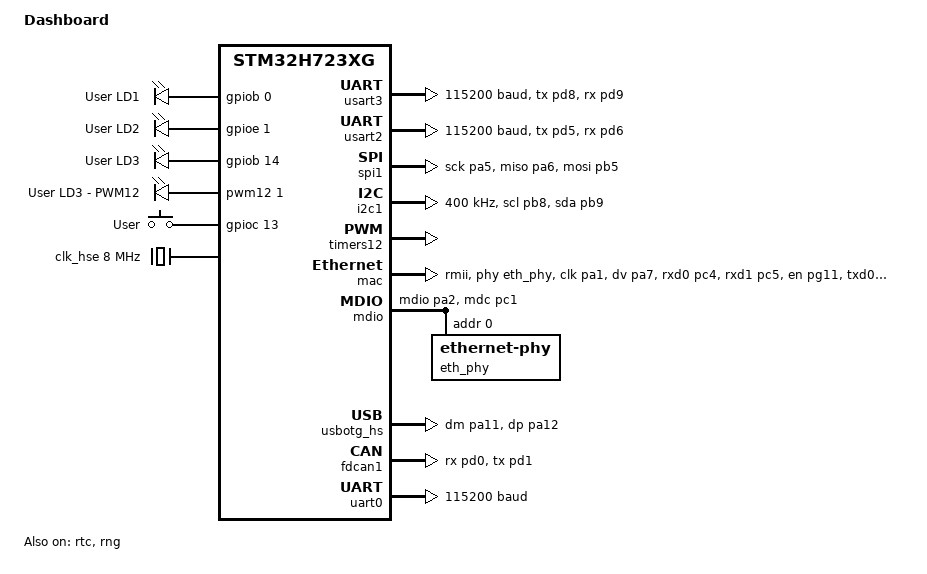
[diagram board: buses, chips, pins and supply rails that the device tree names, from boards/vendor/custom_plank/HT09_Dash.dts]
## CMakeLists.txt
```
#-------------------------------------------------------------------------------
# Zephyr Example Application
#
# Copyright (c) 2021 Nordic Semiconductor ASA
# SPDX-License-Identifier: Apache-2.0

cmake_minimum_required(VERSION 3.13.1)

set(BOARD_ROOT ${CMAKE_CURRENT_SOURCE_DIR})

project(dashboard)
    

find_package(Zephyr REQUIRED HINTS $ENV{ZEPHYR_BASE})
target_sources(app PRIVATE src/main.c)
target_include_directories(app PRIVATE include)
```

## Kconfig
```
# Copyright (c) 2021 Nordic Semiconductor ASA
# SPDX-License-Identifier: Apache-2.0
#
# This file is the application Kconfig entry point. All application Kconfig
# options can be defined here or included via other application Kconfig files.
# You can browse these options using the west targets menuconfig (terminal) or
# guiconfig (GUI).

menu "Zephyr"
source "Kconfig.zephyr"
endmenu

module = APP
module-str = APP
source "subsys/logging/Kconfig.template.log_config"


config BLINK
    bool "Enable blink feature"
    default y
```

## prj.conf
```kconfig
# Copyright (c) 2021 Nordic Semiconductor ASA
# SPDX-License-Identifier: Apache-2.0
#
# This file contains selected Kconfig options for the application.

CONFIG_SENSOR=y
CONFIG_BLINK=y
CONFIG_GPIO=y
CONFIG_SERIAL=y
CONFIG_PRINTK=y
CONFIG_LOG=y
CONFIG_CONSOLE=y
 
```

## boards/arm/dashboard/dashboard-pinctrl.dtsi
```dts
/*
 * Copyright (c) HyTech Racing
 * SPDX-License-Identifier: Apache-2.0
 */

/*
*TODO: please do pin control states. These are from base and we likely want something else
*/

&pinctrl {
    /* USART3 TX/RX (AF7) */
    usart3_tx_pb10: usart3_tx_pb10 {
        pinmux = <STM32_PINMUX('B', 10, AF7)>;
    };
    usart3_rx_pb11: usart3_rx_pb11 {
        pinmux = <STM32_PINMUX('B', 11, AF7)>;
    };

    /* CAN1 RX/TX (AF9) */
    can1_rx_pd0: can1_rx_pd0 {
        pinmux = <STM32_PINMUX('D', 0, AF9)>;
    };
    can1_tx_pd1: can1_tx_pd1 {
        pinmux = <STM32_PINMUX('D', 1, AF9)>;
    };
};
```

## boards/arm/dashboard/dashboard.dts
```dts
/*
 * Copyright (c) HyTech Racing
 * SPDX-License-Identifier: Apache-2.0
 */

/dts-v1/;
#include <st/h7/stm32h723.dtsi> 
#include <st/h7/stm32h723Xe.dtsi>
#include <st/h7/stm32h723vetx-pinctrl.dtsi> //std pinctrl for the chip 
#include "dashboard-pinctrl.dtsi" //custom define of what the pins do in our case
#include <zephyr/dt-bindings/input/input-event-codes.h> //imports commands and macros to make code more readable

/ {
	model = "dashboard";
	compatible = "hytech,Dashboard";

	chosen {
		zephyr,console = &usart3;
		zephyr,shell-uart = &usart3;
		zephyr,dtcm = &dtcm;
		zephyr,sram = &sram0;
		zephyr,flash = &flash0;
		zephyr,canbus = &fdcan1;
	};

	leds: leds {
		compatible = "gpio-leds";
		stm_led: led_0 {
			gpios = <&gpioa 3 GPIO_ACTIVE_HIGH>;
			label = "User LED";
		};
	};

	pwmleds {
		compatible = "pwm-leds";

		red_pwm_led: red_pwm_led {
			pwms = <&pwm12 1 PWM_MSEC(20) PWM_POLARITY_NORMAL>;
			label = "User LD3 - PWM12";
		};
	};

	gpio_keys {
		compatible = "gpio-keys";
		user_button: button_0 {
			label = "User";
			gpios = <&gpioc 13 GPIO_ACTIVE_HIGH>;
			zephyr,code = <INPUT_KEY_0>;
		};
	};

	aliases {
		led0 = &stm_led;
		pwm-led0 = &red_pwm_led;
		sw0 = &user_button;
	};
};

&clk_lsi {
	status = "okay";
};

&clk_hsi48 {
	status = "okay";
};

&clk_hse {
	hse-bypass;
	clock-frequency = <DT_FREQ_M(8)>; /* STLink 8MHz clock */
	status = "okay";
};

&clk_lse {
	status = "okay";
};

&pll {
	div-m = <4>;
	mul-n = <275>;
	div-p = <1>;
	div-q = <4>;
	div-r = <2>;
	clocks = <&clk_hse>;
	status = "okay";
};

&pll2 {
	div-m = <1>;
	mul-n = <10>;
	div-p = <1>;
	div-q = <1>;
	div-r = <1>;
	clocks = <&clk_hse>;
	status = "okay";
};

&rcc {
	clocks = <&pll>;
	clock-frequency = <DT_FREQ_M(550)>;
	d1cpre = <1>;
	hpre = <2>;    /* HCLK: 275   MHz */
	d1ppre = <2>;  /* APB1: 137.5 MHz */
	d2ppre1 = <2>; /* APB2: 137.5 MHz */
	d2ppre2 = <2>; /* APB3: 137.5 MHz */
	d3ppre = <2>;  /* APB4: 137.5 MHz */
};

&usart3 {
	pinctrl-0 = <&usart3_tx_pd8 &usart3_rx_pd9>;
	pinctrl-names = "default";
	current-speed = <115200>;
	status = "okay";
};

&usart2 {
	pinctrl-0 = <&usart2_tx_pd5 &usart2_rx_pd6>;
	pinctrl-names = "default";
	current-speed = <115200>;
	status = "okay";
};

&rtc {
	clocks = <&rcc STM32_CLOCK_BUS_APB4 0x00010000>,
		 <&rcc STM32_SRC_LSI RTC_SEL(2)>;
	status = "okay";
};

&spi1 {
	status = "okay";
	pinctrl-0 = <&spi1_sck_pa5 &spi1_miso_pa6 &spi1_mosi_pb5>;
	pinctrl-names = "default";
	cs-gpios = <&gpiod 14 (GPIO_ACTIVE_LOW | GPIO_PULL_UP)>;
};

&i2c1 {
	pinctrl-0 = <&i2c1_scl_pb8 &i2c1_sda_pb9>;
	pinctrl-names = "default";
	status = "okay";
	clock-frequency = <I2C_BITRATE_FAST>;
};

&backup_sram {
	status = "okay";
};

&timers12 {
	st,prescaler = <10000>;
	status = "okay";

	pwm12: pwm {
		status = "okay";
		pinctrl-0 = <&tim12_ch1_pb14>;
		pinctrl-names = "default";
	};
};

zephyr_udc0: &usbotg_hs {
	pinctrl-0 = <&usb_otg_hs_dm_pa11 &usb_otg_hs_dp_pa12>;
	pinctrl-names = "default";
	status = "okay";
};

&rng {
	status = "okay";
};

&fdcan1 {
	pinctrl-0 = <&fdcan1_rx_pd0 &fdcan1_tx_pd1>;
	pinctrl-names = "default";
	clocks = <&rcc STM32_CLOCK_BUS_APB1_2 0x00000100>,
		 <&rcc STM32_SRC_PLL2_Q FDCAN_SEL(2)>;
	status = "okay";
};

/*
*&uicr {
*	gpio-as-nreset;
*};
*
*
*&gpiote {
*	status = "okay";
*};
*
*&gpio0 {
*	status = "okay";
*};
*
*&uart0 {
*	compatible = "nordic,nrf-uarte";
*	status = "okay";
*
*	current-speed = <115200>;
*	pinctrl-0 = <&uart0_default>;
*	pinctrl-1 = <&uart0_sleep>;
*	pinctrl-names = "default", "sleep";
*};
*/
```

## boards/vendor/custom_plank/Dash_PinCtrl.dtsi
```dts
/*
 * Copyright (c) HyTech
 * SPDX-License-Identifier: Apache-2.0
 */

#TODO: please do pin control states. These are from base and we likely want something else

&pinctrl {
	uart0_default: uart0_default {
		group1 {
			psels = <NRF_PSEL(UART_TX, 0, 6)>,
				<NRF_PSEL(UART_RX, 0, 8)>,
				<NRF_PSEL(UART_RTS, 0, 5)>,
				<NRF_PSEL(UART_CTS, 0, 7)>;
		};
	};

	uart0_sleep: uart0_sleep {
		group1 {
			psels = <NRF_PSEL(UART_TX, 0, 6)>,
				<NRF_PSEL(UART_RX, 0, 8)>,
				<NRF_PSEL(UART_RTS, 0, 5)>,
				<NRF_PSEL(UART_CTS, 0, 7)>;
			low-power-enable;
		};
	};

};
```

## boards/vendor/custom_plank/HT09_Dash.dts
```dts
/*
 * Copyright (c) HyTech
 * SPDX-License-Identifier: Apache-2.0
 */

/dts-v1/;
#include <st/h7/stm32h723Xg.dtsi> #TODO: check
#include <st/h7/stm32h723zgtx-pinctrl.dtsi> #TODO: check
#include "Dash_PinCtrl.dtsi"
#include <zephyr/dt-bindings/input/input-event-codes.h> #TODO: check

/ {
	model = "Dashboard";
	compatible = "vendor,Dashboard";

	chosen {
		zephyr,console = &usart3;
		zephyr,shell-uart = &usart3;
		zephyr,dtcm = &dtcm;
		zephyr,sram = &sram0;
		zephyr,flash = &flash0;
		zephyr,canbus = &fdcan1;
	};

	leds: leds {
		compatible = "gpio-leds";
		green_led: led_0 {
			gpios = <&gpiob 0 GPIO_ACTIVE_HIGH>;
			label = "User LD1";
		};
		yellow_led: led_1 {
			gpios = <&gpioe 1 GPIO_ACTIVE_HIGH>;
			label = "User LD2";
		};
		red_led: led_2 {
			gpios = <&gpiob 14 GPIO_ACTIVE_HIGH>;
			label = "User LD3";
		};
	};

	pwmleds {
		compatible = "pwm-leds";

		red_pwm_led: red_pwm_led {
			pwms = <&pwm12 1 PWM_MSEC(20) PWM_POLARITY_NORMAL>;
			label = "User LD3 - PWM12";
		};
	};

	gpio_keys {
		compatible = "gpio-keys";
		user_button: button_0 {
			label = "User";
			gpios = <&gpioc 13 GPIO_ACTIVE_HIGH>;
			zephyr,code = <INPUT_KEY_0>;
		};
	};

	aliases {
		led0 = &green_led;
		led1 = &yellow_led;
		led2 = &red_led;
		pwm-led0 = &red_pwm_led;
		sw0 = &user_button;
	};
};

&clk_lsi {
	status = "okay";
};

&clk_hsi48 {
	status = "okay";
};

&clk_hse {
	hse-bypass;
	clock-frequency = <DT_FREQ_M(8)>; /* STLink 8MHz clock */
	status = "okay";
};

&clk_lse {
	status = "okay";
};

&pll {
	div-m = <4>;
	mul-n = <275>;
	div-p = <1>;
	div-q = <4>;
	div-r = <2>;
	clocks = <&clk_hse>;
	status = "okay";
};

&pll2 {
	div-m = <1>;
	mul-n = <10>;
	div-p = <1>;
	div-q = <1>;
	div-r = <1>;
	clocks = <&clk_hse>;
	status = "okay";
};

&rcc {
	clocks = <&pll>;
	clock-frequency = <DT_FREQ_M(550)>;
	d1cpre = <1>;
	hpre = <2>;    /* HCLK: 275   MHz */
	d1ppre = <2>;  /* APB1: 137.5 MHz */
	d2ppre1 = <2>; /* APB2: 137.5 MHz */
	d2ppre2 = <2>; /* APB3: 137.5 MHz */
	d3ppre = <2>;  /* APB4: 137.5 MHz */
};

&usart3 {
	pinctrl-0 = <&usart3_tx_pd8 &usart3_rx_pd9>;
	pinctrl-names = "default";
	current-speed = <115200>;
	status = "okay";
};

&usart2 {
	pinctrl-0 = <&usart2_tx_pd5 &usart2_rx_pd6>;
	pinctrl-names = "default";
	current-speed = <115200>;
	status = "okay";
};

&rtc {
	clocks = <&rcc STM32_CLOCK_BUS_APB4 0x00010000>,
		 <&rcc STM32_SRC_LSI RTC_SEL(2)>;
	status = "okay";
};

&spi1 {
	status = "okay";
	pinctrl-0 = <&spi1_sck_pa5 &spi1_miso_pa6 &spi1_mosi_pb5>;
	pinctrl-names = "default";
	cs-gpios = <&gpiod 14 (GPIO_ACTIVE_LOW | GPIO_PULL_UP)>;
};

&i2c1 {
	pinctrl-0 = <&i2c1_scl_pb8 &i2c1_sda_pb9>;
	pinctrl-names = "default";
	status = "okay";
	clock-frequency = <I2C_BITRATE_FAST>;
};

&backup_sram {
	status = "okay";
};

&timers12 {
	st,prescaler = <10000>;
	status = "okay";

	pwm12: pwm {
		status = "okay";
		pinctrl-0 = <&tim12_ch1_pb14>;
		pinctrl-names = "default";
	};
};

&mac {
	status = "okay";
	pinctrl-0 = <&eth_ref_clk_pa1
		     &eth_crs_dv_pa7
		     &eth_rxd0_pc4
		     &eth_rxd1_pc5
		     &eth_tx_en_pg11
		     &eth_txd0_pg13
		     &eth_txd1_pb13>;
	pinctrl-names = "default";
	phy-connection-type = "rmii";
	phy-handle = <&eth_phy>;
};

&mdio {
	status = "okay";
	pinctrl-0 = <&eth_mdio_pa2 &eth_mdc_pc1>;
	pinctrl-names = "default";

	eth_phy: ethernet-phy@0 {
		compatible = "ethernet-phy";
		reg = <0>;
	};
};

zephyr_udc0: &usbotg_hs {
	pinctrl-0 = <&usb_otg_hs_dm_pa11 &usb_otg_hs_dp_pa12>;
	pinctrl-names = "default";
	status = "okay";
};

&rng {
	status = "okay";
};

&fdcan1 {
	pinctrl-0 = <&fdcan1_rx_pd0 &fdcan1_tx_pd1>;
	pinctrl-names = "default";
	clocks = <&rcc STM32_CLOCK_BUS_APB1_2 0x00000100>,
		 <&rcc STM32_SRC_PLL2_Q FDCAN_SEL(2)>;
	status = "okay";
};


&uicr {
	gpio-as-nreset;
};

&gpiote {
	status = "okay";
};

&gpio0 {
	status = "okay";
};

&uart0 {
	compatible = "nordic,nrf-uarte";
	status = "okay";

	current-speed = <115200>;
	pinctrl-0 = <&uart0_default>;
	pinctrl-1 = <&uart0_sleep>;
	pinctrl-names = "default", "sleep";
};
```

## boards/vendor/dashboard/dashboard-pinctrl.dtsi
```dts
/*
 * Copyright (c) HyTech Racing
 * SPDX-License-Identifier: Apache-2.0
 */

#TODO: please do pin control states. These are from base and we likely want something else

&pinctrl {
	uart0_default: uart0_default {
		group1 {
			psels = <NRF_PSEL(UART_TX, 0, 6)>,
				<NRF_PSEL(UART_RX, 0, 8)>,
				<NRF_PSEL(UART_RTS, 0, 5)>,
				<NRF_PSEL(UART_CTS, 0, 7)>;
		};
	};

	uart0_sleep: uart0_sleep {
		group1 {
			psels = <NRF_PSEL(UART_TX, 0, 6)>,
				<NRF_PSEL(UART_RX, 0, 8)>,
				<NRF_PSEL(UART_RTS, 0, 5)>,
				<NRF_PSEL(UART_CTS, 0, 7)>;
			low-power-enable;
		};
	};

};
```

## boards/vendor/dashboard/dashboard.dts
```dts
/*
 * Copyright (c) HyTech Racing
 * SPDX-License-Identifier: Apache-2.0
 */

/dts-v1/;
#include <st/h7/stm32h723.dtsi> 
#include <st/h7/stm32h723Xe.dtsi>
#include <st/h7/stm32h723zgtx-pinctrl.dtsi> //std pinctrl for the chip 
#include "dashboard-pinctrl.dtsi" //custom define of what the pins do in our case
#include <zephyr/dt-bindings/input/input-event-codes.h> //imports commands and macros to make code more readable

/ {
	model = "dashboard";
	compatible = "hytech,Dashboard";

	chosen {
		zephyr,console = &usart3;
		zephyr,shell-uart = &usart3;
		zephyr,dtcm = &dtcm;
		zephyr,sram = &sram0;
		zephyr,flash = &flash0;
		zephyr,canbus = &fdcan1;
	};

	leds: leds {
		compatible = "gpio-leds";
		green_led: led_0 {
			gpios = <&gpiob 0 GPIO_ACTIVE_HIGH>;
			label = "User LD1";
		};
		yellow_led: led_1 {
			gpios = <&gpioe 1 GPIO_ACTIVE_HIGH>;
			label = "User LD2";
		};
		red_led: led_2 {
			gpios = <&gpiob 14 GPIO_ACTIVE_HIGH>;
			label = "User LD3";
		};
	};

	pwmleds {
		compatible = "pwm-leds";

		red_pwm_led: red_pwm_led {
			pwms = <&pwm12 1 PWM_MSEC(20) PWM_POLARITY_NORMAL>;
			label = "User LD3 - PWM12";
		};
	};

	gpio_keys {
		compatible = "gpio-keys";
		user_button: button_0 {
			label = "User";
			gpios = <&gpioc 13 GPIO_ACTIVE_HIGH>;
			zephyr,code = <INPUT_KEY_0>;
		};
	};

	aliases {
		led0 = &green_led;
		led1 = &yellow_led;
		led2 = &red_led;
		pwm-led0 = &red_pwm_led;
		sw0 = &user_button;
	};
};

&clk_lsi {
	status = "okay";
};

&clk_hsi48 {
	status = "okay";
};

&clk_hse {
	hse-bypass;
	clock-frequency = <DT_FREQ_M(8)>; /* STLink 8MHz clock */
	status = "okay";
};

&clk_lse {
	status = "okay";
};

&pll {
	div-m = <4>;
	mul-n = <275>;
	div-p = <1>;
	div-q = <4>;
	div-r = <2>;
	clocks = <&clk_hse>;
	status = "okay";
};

&pll2 {
	div-m = <1>;
	mul-n = <10>;
	div-p = <1>;
	div-q = <1>;
	div-r = <1>;
	clocks = <&clk_hse>;
	status = "okay";
};

&rcc {
	clocks = <&pll>;
	clock-frequency = <DT_FREQ_M(550)>;
	d1cpre = <1>;
	hpre = <2>;    /* HCLK: 275   MHz */
	d1ppre = <2>;  /* APB1: 137.5 MHz */
	d2ppre1 = <2>; /* APB2: 137.5 MHz */
	d2ppre2 = <2>; /* APB3: 137.5 MHz */
	d3ppre = <2>;  /* APB4: 137.5 MHz */
};

&usart3 {
	pinctrl-0 = <&usart3_tx_pd8 &usart3_rx_pd9>;
	pinctrl-names = "default";
	current-speed = <115200>;
	status = "okay";
};

&usart2 {
	pinctrl-0 = <&usart2_tx_pd5 &usart2_rx_pd6>;
	pinctrl-names = "default";
	current-speed = <115200>;
	status = "okay";
};

&rtc {
	clocks = <&rcc STM32_CLOCK_BUS_APB4 0x00010000>,
		 <&rcc STM32_SRC_LSI RTC_SEL(2)>;
	status = "okay";
};

&spi1 {
	status = "okay";
	pinctrl-0 = <&spi1_sck_pa5 &spi1_miso_pa6 &spi1_mosi_pb5>;
	pinctrl-names = "default";
	cs-gpios = <&gpiod 14 (GPIO_ACTIVE_LOW | GPIO_PULL_UP)>;
};

&i2c1 {
	pinctrl-0 = <&i2c1_scl_pb8 &i2c1_sda_pb9>;
	pinctrl-names = "default";
	status = "okay";
	clock-frequency = <I2C_BITRATE_FAST>;
};

&backup_sram {
	status = "okay";
};

&timers12 {
	st,prescaler = <10000>;
	status = "okay";

	pwm12: pwm {
		status = "okay";
		pinctrl-0 = <&tim12_ch1_pb14>;
		pinctrl-names = "default";
	};
};

&mac {
	status = "okay";
	pinctrl-0 = <&eth_ref_clk_pa1
		     &eth_crs_dv_pa7
		     &eth_rxd0_pc4
		     &eth_rxd1_pc5
		     &eth_tx_en_pg11
		     &eth_txd0_pg13
		     &eth_txd1_pb13>;
	pinctrl-names = "default";
	phy-connection-type = "rmii";
	phy-handle = <&eth_phy>;
};

&mdio {
	status = "okay";
	pinctrl-0 = <&eth_mdio_pa2 &eth_mdc_pc1>;
	pinctrl-names = "default";

	eth_phy: ethernet-phy@0 {
		compatible = "ethernet-phy";
		reg = <0>;
	};
};

zephyr_udc0: &usbotg_hs {
	pinctrl-0 = <&usb_otg_hs_dm_pa11 &usb_otg_hs_dp_pa12>;
	pinctrl-names = "default";
	status = "okay";
};

&rng {
	status = "okay";
};

&fdcan1 {
	pinctrl-0 = <&fdcan1_rx_pd0 &fdcan1_tx_pd1>;
	pinctrl-names = "default";
	clocks = <&rcc STM32_CLOCK_BUS_APB1_2 0x00000100>,
		 <&rcc STM32_SRC_PLL2_Q FDCAN_SEL(2)>;
	status = "okay";
};


&uicr {
	gpio-as-nreset;
};

&gpiote {
	status = "okay";
};

&gpio0 {
	status = "okay";
};

&uart0 {
	compatible = "nordic,nrf-uarte";
	status = "okay";

	current-speed = <115200>;
	pinctrl-0 = <&uart0_default>;
	pinctrl-1 = <&uart0_sleep>;
	pinctrl-names = "default", "sleep";
};
```

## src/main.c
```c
#include "main.h"
#include "usb_device.h"
// #include "led.h"

// #include "usbd_core.h"
// #include "usbd_desc.h"
// #include "usbd_cdc.h"
// #include "usbd_cdc_if.h"

// USBD_HandleTypeDef hUsbDeviceFS;

// TIM_HandleTypeDef htim2;
// DMA_HandleTypeDef hdma_tim2_ch1;

// uint8_t TxBuffer[] = "Hello World! From STM32 USB CDC Device To Virtual COM Port\r\n";
// uint8_t TxBufferLen = sizeof(TxBuffer);

// https://www.thevfdcollective.com/blog/stm32-and-sk6812-rgbw-led

#define CYCLE_PD 10

TIM_HandleTypeDef htim2;


void LED_Init(void);
void SystemClock_Config(void);
void Error_Handler(void);
static void MX_TIM2_Init(void);
static void MPU_Config(void);

int main(void)
{
  MPU_Config();
  HAL_Init();
  SystemClock_Config();
  MX_TIM2_Init();
  MX_USB_DEVICE_Init();
  //LED_Init();




  HAL_TIM_PWM_Start(&htim2, TIM_CHANNEL_4);


  uint8_t blink_time = 0;

  while (1)
  {

    /* Fade in */
        for (uint16_t duty = 0; duty < 1000; duty++) {
            __HAL_TIM_SET_COMPARE(&htim2, TIM_CHANNEL_4, duty);
            HAL_Delay(1);  // controls fade speed
        }

        /* Fade out */
        for (uint16_t duty = 1000; duty > 0; duty--) {
            __HAL_TIM_SET_COMPARE(&htim2, TIM_CHANNEL_4, duty);
            HAL_Delay(1);
        }
  //HAL_GPIO_TogglePin(LED_GPIO_PORT, LED_PIN);
  


    // if (blink_time > 500 / CYCLE_PD) {
    //   HAL_GPIO_TogglePin(LED_GPIO_PORT, LED_PIN);
    //   blink_time += CYCLE_PD;
    //   // CDC_Transmit_FS(TxBuffer, TxBufferLen);
    // }
  }
}

void LED_Init(void)
{
  LED_GPIO_CLK_ENABLE();
  GPIO_InitTypeDef GPIO_InitStruct;
  GPIO_InitStruct.Pin = LED_PIN;
  GPIO_InitStruct.Mode = GPIO_MODE_OUTPUT_PP;
  GPIO_InitStruct.Pull = GPIO_PULLUP;
  GPIO_InitStruct.Speed = GPIO_SPEED_HIGH;
  HAL_GPIO_Init(LED_GPIO_PORT, &GPIO_InitStruct);
}

void SysTick_Handler(void)
{
  HAL_IncTick();
}

void Error_Handler(void)
{
    __disable_irq();
  while (1)
  {
    HAL_GPIO_TogglePin(LED_GPIO_PORT, LED_PIN);
    HAL_Delay(100);
  }
}

/**
  * @brief System Clock Configuration
  * @retval None
  */
void SystemClock_Config(void)
{
  RCC_OscInitTypeDef RCC_OscInitStruct = {0};
  RCC_ClkInitTypeDef RCC_ClkInitStruct = {0};

  /** Supply configuration update enable
  */
  HAL_PWREx_ConfigSupply(PWR_LDO_SUPPLY);

  /** Configure the main internal regulator output voltage
  */
  __HAL_PWR_VOLTAGESCALING_CONFIG(PWR_REGULATOR_VOLTAGE_SCALE3);

  while(!__HAL_PWR_GET_FLAG(PWR_FLAG_VOSRDY)) {}

  /** Initializes the RCC Oscillators according to the specified parameters
  * in the RCC_OscInitTypeDef structure.
  */
  RCC_OscInitStruct.OscillatorType = RCC_OSCILLATORTYPE_HSE;
  RCC_OscInitStruct.HSEState = RCC_HSE_ON;
  RCC_OscInitStruct.PLL.PLLState = RCC_PLL_ON;
  RCC_OscInitStruct.PLL.PLLSource = RCC_PLLSOURCE_HSE;
  RCC_OscInitStruct.PLL.PLLM = 5;
  RCC_OscInitStruct.PLL.PLLN = 48;
  RCC_OscInitStruct.PLL.PLLP = 14;
  RCC_OscInitStruct.PLL.PLLQ = 5;
  RCC_OscInitStruct.PLL.PLLR = 2;
  RCC_OscInitStruct.PLL.PLLRGE = RCC_PLL1VCIRANGE_2;
  RCC_OscInitStruct.PLL.PLLVCOSEL = RCC_PLL1VCOWIDE;
  RCC_OscInitStruct.PLL.PLLFRACN = 0;
  if (HAL_RCC_OscConfig(&RCC_OscInitStruct) != HAL_OK)
  {
    Error_Handler();
  }

  /** Initializes the CPU, AHB and APB buses clocks
  */
  RCC_ClkInitStruct.ClockType = RCC_CLOCKTYPE_HCLK|RCC_CLOCKTYPE_SYSCLK
                              |RCC_CLOCKTYPE_PCLK1|RCC_CLOCKTYPE_PCLK2
                              |RCC_CLOCKTYPE_D3PCLK1|RCC_CLOCKTYPE_D1PCLK1;
  RCC_ClkInitStruct.SYSCLKSource = RCC_SYSCLKSOURCE_HSE;
  RCC_ClkInitStruct.SYSCLKDivider = RCC_SYSCLK_DIV1;
  RCC_ClkInitStruct.AHBCLKDivider = RCC_HCLK_DIV1;
  RCC_ClkInitStruct.APB3CLKDivider = RCC_APB3_DIV1;
  RCC_ClkInitStruct.APB1CLKDivider = RCC_APB1_DIV1;
  RCC_ClkInitStruct.APB2CLKDivider = RCC_APB2_DIV1;
  RCC_ClkInitStruct.APB4CLKDivider = RCC_APB4_DIV1;

  if (HAL_RCC_ClockConfig(&RCC_ClkInitStruct, FLASH_LATENCY_0) != HAL_OK)
  {
    Error_Handler();
  }
}

/**
  * @brief TIM2 Initialization Function
  * @param None
  * @retval None
  */
static void MX_TIM2_Init(void)
{

  /* USER CODE BEGIN TIM2_Init 0 */

  /* USER CODE END TIM2_Init 0 */

  TIM_MasterConfigTypeDef sMasterConfig = {0};
  TIM_OC_InitTypeDef sConfigOC = {0};

  /* USER CODE BEGIN TIM2_Init 1 */

  /* USER CODE END TIM2_Init 1 */
  htim2.Instance = TIM2;
  htim2.Init.Prescaler = 25;
  htim2.Init.CounterMode = TIM_COUNTERMODE_UP;
  htim2.Init.Period = 999;
  htim2.Init.ClockDivision = TIM_CLOCKDIVISION_DIV1;
  htim2.Init.AutoReloadPreload = TIM_AUTORELOAD_PRELOAD_DISABLE;
  if (HAL_TIM_PWM_Init(&htim2) != HAL_OK)
  {
    Error_Handler();
  }
  sMasterConfig.MasterOutputTrigger = TIM_TRGO_RESET;
  sMasterConfig.MasterSlaveMode = TIM_MASTERSLAVEMODE_DISABLE;
  if (HAL_TIMEx_MasterConfigSynchronization(&htim2, &sMasterConfig) != HAL_OK)
  {
    Error_Handler();
  }
  sConfigOC.OCMode = TIM_OCMODE_PWM1;
  sConfigOC.Pulse = 500;
  sConfigOC.OCPolarity = TIM_OCPOLARITY_HIGH;
  sConfigOC.OCFastMode = TIM_OCFAST_DISABLE;
  if (HAL_TIM_PWM_ConfigChannel(&htim2, &sConfigOC, TIM_CHANNEL_4) != HAL_OK)
  {
    Error_Handler();
  }
  /* USER CODE BEGIN TIM2_Init 2 */

  /* USER CODE END TIM2_Init 2 */
  HAL_TIM_MspPostInit(&htim2);

}

/* MPU Configuration */

void MPU_Config(void)
{
  MPU_Region_InitTypeDef MPU_InitStruct = {0};

  /* Disables the MPU */
  HAL_MPU_Disable();

  /** Initializes and configures the Region and the memory to be protected
  */
  MPU_InitStruct.Enable = MPU_REGION_ENABLE;
  MPU_InitStruct.Number = MPU_REGION_NUMBER0;
  MPU_InitStruct.BaseAddress = 0x0;
  MPU_InitStruct.Size = MPU_REGION_SIZE_4GB;
  MPU_InitStruct.SubRegionDisable = 0x87;
  MPU_InitStruct.TypeExtField = MPU_TEX_LEVEL0;
  MPU_InitStruct.AccessPermission = MPU_REGION_NO_ACCESS;
  MPU_InitStruct.DisableExec = MPU_INSTRUCTION_ACCESS_DISABLE;
  MPU_InitStruct.IsShareable = MPU_ACCESS_SHAREABLE;
  MPU_InitStruct.IsCacheable = MPU_ACCESS_NOT_CACHEABLE;
  MPU_InitStruct.IsBufferable = MPU_ACCESS_NOT_BUFFERABLE;

  HAL_MPU_ConfigRegion(&MPU_InitStruct);
  /* Enables the MPU */
  HAL_MPU_Enable(MPU_PRIVILEGED_DEFAULT);

}
```

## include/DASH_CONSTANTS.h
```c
#ifndef DASH_CONSTANTS_H
#define DASH_CONSTANTS_H

//#include "stm32f4xx_hal.h"

/* -------------------------------------------------- */
/*                 Display Constants                  */
/* -------------------------------------------------- */


constexpr int NEOPIXEL_CONTROL_PIN = 0;
constexpr int NEOPIXEL_COUNT = 12; // 12 neopixeles on dashboard



#endif /* DASH_CONSTANTS_H */
```

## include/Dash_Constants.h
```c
#ifndef DASH_CONSTANTS_H
#define DASH_CONSTANTS_H



//HT Scheduler Constants
constexpr unsigned long NEOPIXEL_UPDATE_PRIORITY = 90;
constexpr unsigned long NEOPIXEL_UPDATE_PERIOD = 100000;      // 100 000 us = 10 Hz

constexpr unsigned long SCREEN_REFRESH_PRIORITY = 100;
constexpr unsigned long SCREEN_REFRESH_PERIOD = 33333;        // 33 333 us = 30 Hz

#endif /* DASH_CONSTANTS_H */
```

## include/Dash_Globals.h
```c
#ifndef DASH_GLOBALS_H
#define DASH_GLOBALS_H

#include <etl/singleton.h>
#include "SharedFirmwareTypes.h"
#include "variant_generic.h"

/* Interface and system data structs */
using VCFData_sInstance = etl::singleton<VCFData_s>;
using VCRData_sInstance = etl::singleton<VCRData_s>;


constexpr int NEOPIXEL_CONTROL_PIN = PC14;
constexpr int NEOPIXEL_COUNT = 16; // 12 neopixeles on dashboard




#endif
```

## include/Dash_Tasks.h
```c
#ifndef DASH_TASKS_H
#define DASH_TASKS_H

#include "CANInterface.h"
#include "DashCANInterfaceImpl.h"
#include <ht_sched.hpp>
#include <ht_task.hpp>

#include "Dash_Constants.h"
#include "Dash_Globals.h"
#include "NeopixelController.h"
#include "SharedFirmwareTypes.h"

#include "HT_SPI.h"
#include "HT_FDCAN.h"

// Interface Includes
#include "VCFInterface.h"
#include "VCRInterface.h"
// #include "lcdInterface.h"
#include "newDisplay.h"
#include "bitmaps.h"
#include "etl/delegate.h"

HT_TASK::TaskResponse init_heartbeat(const unsigned long& sys_micros, const HT_TASK::TaskInfo& task_info);
HT_TASK::TaskResponse heartbeat(const unsigned long& sys_micros, const HT_TASK::TaskInfo& task_info);

HT_TASK::TaskResponse init_can(const unsigned long &sysMicros, const HT_TASK::TaskInfo &taskInfo);
HT_TASK::TaskResponse can_read(const unsigned long& sysMicros, const HT_TASK::TaskInfo& taskInfo);

HT_TASK::TaskResponse init_neopixels_task(const unsigned long& sys_micros, const HT_TASK::TaskInfo& task_info);
HT_TASK::TaskResponse run_update_neopixels_task(const unsigned long& sys_micros, const HT_TASK::TaskInfo& task_info);

HT_TASK::TaskResponse init_screen(const unsigned long& sys_micros, const HT_TASK::TaskInfo& task_info);
HT_TASK::TaskResponse screen_refresh(const unsigned long& sys_micros, const HT_TASK::TaskInfo& task_info);

HT_TASK::TaskResponse init_can(const unsigned long& sys_micros, const HT_TASK::TaskInfo& task_info);
HT_TASK::TaskResponse can_read(const unsigned long& sysMicros, const HT_TASK::TaskInfo& taskInfo);

#endif /* DASH_TASKS_H */  
```

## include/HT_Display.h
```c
#include <Adafruit_GFX.h>
#include <Arduino.h>

#define SHARPMEM_BIT_WRITECMD (0x01) // 0x80 in LSB format
#define SHARPMEM_BIT_VCOM (0x02)     // 0x40 in LSB format
#define SHARPMEM_BIT_CLEAR (0x04)    // 0x20 in LSB format

/**
 * @brief Class to control the Sharp memory display
 *
 */
class HyTech_SharpMem : public Adafruit_GFX {
public:
  HyTech_SharpMem(uint8_t cs, uint16_t w = 320, uint16_t h = 240, uint32_t freq = 2000000);
  bool begin();
  void drawPixel(int16_t x, int16_t y, uint16_t color);
  uint8_t getPixel(uint16_t x, uint16_t y);
  void clearDisplay();
  void refresh_buffer(void);
  void clearDisplayBuffer();
  /**
   * @brief Get a pointer to the display buffer.
   * This allows direct access to the internal framebuffer.
   *
   * @return uint8_t* Pointer to the framebuffer memory.
   */
  uint8_t *getBuffer() { return _display_buffer; }
  uint16_t getBufferSize() { return _size_of_buffer; }
  

private:
  Adafruit_SPIDevice *spidev = NULL; //need to figure this one out
  uint8_t _display_buffer[10080]; //320*240/8 = 9600 + 480 extra for line addresses
  uint16_t _size_of_buffer = 10080;
  uint16_t _display_width = 320;
  uint16_t _display_height = 240;
  uint16_t _test = 2;
  uint8_t _cs;
  uint8_t * _stm_spi;
  uint8_t _sharpmem_vcom;
};
```

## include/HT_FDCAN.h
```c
#ifndef HT_FDCAN_WRAPPER
#define HT_FDCAN_WRAPPER

#include "stm32h7xx_hal.h"
#include "stm32h750xx.h"


#include "ACUInterface.h"
#include "VCFInterface.h"
#include "VCRInterface.h"

#include "hytech.h"
#include "DashCANInterfaceImpl.h"

// struct CANInterfaces
// {
// explicit CANInterfaces(
//     VCFInterface &vcf_int,
//     ACUInterface &acu_int,
//     DrivebrainInterface &db_int)
//     : vcf_interface(vcf_int),
//       acu_interface(acu_int),
//       db_interface(db_int) {}

// VCFInterface & vcf_interface;
// ACUInterface & acu_interface;
// DrivebrainInterface & db_interface;
// };

int FDCAN_Init();
void FDCAN1_GPIO_Init_PD0D1(void);
int FDCAN_write(uint32_t id, const uint8_t *data, uint8_t len);
int FDCAN_read(CANInterfaces &interfaces, unsigned long millis);
#endif
```

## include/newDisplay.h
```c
#ifndef LCDINTERFACE_H
#define LCDINTERFACE_H

// LCD Libraries
#include "HT_Display.h"
#include "Adafruit_GFX.h"

// Fonts
#include <Fonts/FreeSans9pt7b.h>
#include <Fonts/FreeSans12pt7b.h>
#include <Fonts/FreeSans24pt7b.h>
#include <Fonts/FreeSansBold9pt7b.h>
#include <Fonts/FreeSansBold12pt7b.h>
#include <Fonts/FreeSansBold18pt7b.h>
#include <Fonts/FreeSansBold24pt7b.h>

#include "HT_SPI.h"

#include "bitmaps.h"
#include "alysa_frames.h"

#include "SharedFirmwareTypes.h"
#include "etl/singleton.h"

// Defines

#define LED_PIN PA3
#define SHARP_CS PB4
#define SHARP_CLK PB10
#define SHARP_MOSI PB15

class HTX_Display
{
public:
    HyTech_SharpMem _display; // bigger display is 320x240 smaller one is 400x240
    HTX_Display(uint8_t cs) : _display(cs, 320, 240) {}
    void init(SPI_HandleTypeDef *hspi);
    void startup();
    void hytech_animation();
    void alysa_animation();
    // void driver_animation(StartupAnimations);
    void draw_background();
    void clear_display_buffer() { _display.clearDisplayBuffer(); }
    void draw_vertical_pedal_bar(float val, int initial_x_coord);
    void draw_battery_bar(int percent);
    void display_speeds(float rpm);
    void display_mode(int mode);
    void draw_icons(uint8_t vn_status, VehicleState_e car_state, bool db_in_ctrl);
    void invert_display(bool invert_criteria);
    void draw_popup(String title);
    void send_display_buffer(SPI_HandleTypeDef *hspi);
    void set_cursor(int x, int y);
    void display_min_cell(float min_cell_voltage);
    void display_all_temps(veh_vec<int> temps);
    void display_power(float power_watts);
    void display_max_temps(int inverter_temp, int motor_temp);

    uint8_t current_page = 0;

private:
    void draw_rectangle_right_corner(int16_t x, int16_t y, int16_t w, int16_t h, uint16_t color);
    String twoDigits(int number);
    bool blink();

    bool last_blink = false;
    uint32_t last_blink_millis = 0;
    uint16_t _black = 0x00;
    uint16_t _white = 0xFF;

    /* SPI Sending */
    uint8_t vcom = SHARPMEM_BIT_VCOM; // VCOM toggle command
    SPI_HandleTypeDef *_hspi = NULL;
    HAL_StatusTypeDef _spi_status;
};

using HTXDisplayInstance = etl::singleton<HTX_Display>;

namespace conversions
{
    // MPH conversion
    const float GEARBOX_RATIO = 11.86;                                                     // TODO: Need to update
    const float WHEEL_DIAMETER = 0.4064;                                                   // meters NEED to update
    const float RPM_TO_METERS_PER_SECOND = WHEEL_DIAMETER * 3.1415 / GEARBOX_RATIO / 60.0; // TODO: Need to update
    const float METERS_PER_SECOND_TO_RPM = 1.0 / RPM_TO_METERS_PER_SECOND;
    const float METERS_PER_SECOND_TO_MPH = 2.2369;
}

enum StartupAnimations
{
    NONE,
    MIKHAIL_CAT,
    DAVID_KNIGHT_GLIZZY,
    DAVID_KNIGHT_2,
    ICE_SPICE
};

#endif /* LCDINTERFACE_H */
```

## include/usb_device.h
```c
#pragma once
/* USER CODE BEGIN Header */
/**
  ******************************************************************************
  * @file           : usb_device.h
  * @version        : v1.0_Cube
  * @brief          : Header for usb_device.c file.
  ******************************************************************************
  * @attention
  *
  * Copyright (c) 2025 STMicroelectronics.
  * All rights reserved.
  *
  * This software is licensed under terms that can be found in the LICENSE file
  * in the root directory of this software component.
  * If no LICENSE file comes with this software, it is provided AS-IS.
  *
  ******************************************************************************
  */
/* USER CODE END Header */

/* Define to prevent recursive inclusion -------------------------------------*/
#ifndef __USB_DEVICE__H__
#define __USB_DEVICE__H__

#ifdef __cplusplus
 extern "C" {
#endif

/* Includes ------------------------------------------------------------------*/
#include "stm32h7xx.h"
#include "stm32h7xx_hal.h"
#include "usbd_def.h"

/* USER CODE BEGIN INCLUDE */

/* USER CODE END INCLUDE */

/** @addtogroup USBD_OTG_DRIVER
  * @{
  */

/** @defgroup USBD_DEVICE USBD_DEVICE
  * @brief Device file for Usb otg low level driver.
  * @{
  */

/** @defgroup USBD_DEVICE_Exported_Variables USBD_DEVICE_Exported_Variables
  * @brief Public variables.
  * @{
  */

/* Private variables ---------------------------------------------------------*/
/* USER CODE BEGIN PV */

/* USER CODE END PV */

/* Private function prototypes -----------------------------------------------*/
/* USER CODE BEGIN PFP */

/* USER CODE END PFP */

/*
 * -- Insert your variables declaration here --
 */
/* USER CODE BEGIN VARIABLES */

/* USER CODE END VARIABLES */
/**
  * @}
  */

/** @defgroup USBD_DEVICE_Exported_FunctionsPrototype USBD_DEVICE_Exported_FunctionsPrototype
  * @brief Declaration of public functions for Usb device.
  * @{
  */

/** USB Device initialization function. */
void MX_USB_DEVICE_Init(void);

/*
 * -- Insert functions declaration here --
 */
/* USER CODE BEGIN FD */

/* USER CODE END FD */
/**
  * @}
  */

/**
  * @}
  */

/**
  * @}
  */

#ifdef __cplusplus
}
#endif

#endif /* __USB_DEVICE__H__ */
```

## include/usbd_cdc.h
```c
#pragma once
/**
  ******************************************************************************
  * @file    usbd_cdc.h
  * @author  MCD Application Team
  * @brief   header file for the usbd_cdc.c file.
  ******************************************************************************
  * @attention
  *
  * Copyright (c) 2015 STMicroelectronics.
  * All rights reserved.
  *
  * This software is licensed under terms that can be found in the LICENSE file
  * in the root directory of this software component.
  * If no LICENSE file comes with this software, it is provided AS-IS.
  *
  ******************************************************************************
  */

/* Define to prevent recursive inclusion -------------------------------------*/
#ifndef __USB_CDC_H
#define __USB_CDC_H

#ifdef __cplusplus
extern "C" {
#endif

/* Includes ------------------------------------------------------------------*/
#include  "usbd_ioreq.h"

/** @addtogroup STM32_USB_DEVICE_LIBRARY
  * @{
  */

/** @defgroup usbd_cdc
  * @brief This file is the Header file for usbd_cdc.c
  * @{
  */


/** @defgroup usbd_cdc_Exported_Defines
  * @{
  */
#ifndef CDC_IN_EP
#define CDC_IN_EP                                   0x81U  /* EP1 for data IN */
#endif /* CDC_IN_EP */
#ifndef CDC_OUT_EP
#define CDC_OUT_EP                                  0x01U  /* EP1 for data OUT */
#endif /* CDC_OUT_EP */
#ifndef CDC_CMD_EP
#define CDC_CMD_EP                                  0x82U  /* EP2 for CDC commands */
#endif /* CDC_CMD_EP  */

#ifndef CDC_HS_BINTERVAL
#define CDC_HS_BINTERVAL                            0x10U
#endif /* CDC_HS_BINTERVAL */

#ifndef CDC_FS_BINTERVAL
#define CDC_FS_BINTERVAL                            0x10U
#endif /* CDC_FS_BINTERVAL */

/* CDC Endpoints parameters: you can fine tune these values depending on the needed baudrates and performance. */
#define CDC_DATA_HS_MAX_PACKET_SIZE                 512U  /* Endpoint IN & OUT Packet size */
#define CDC_DATA_FS_MAX_PACKET_SIZE                 64U  /* Endpoint IN & OUT Packet size */
#define CDC_CMD_PACKET_SIZE                         8U  /* Control Endpoint Packet size */

#define USB_CDC_CONFIG_DESC_SIZ                     67U
#define CDC_DATA_HS_IN_PACKET_SIZE                  CDC_DATA_HS_MAX_PACKET_SIZE
#define CDC_DATA_HS_OUT_PACKET_SIZE                 CDC_DATA_HS_MAX_PACKET_SIZE

#define CDC_DATA_FS_IN_PACKET_SIZE                  CDC_DATA_FS_MAX_PACKET_SIZE
#define CDC_DATA_FS_OUT_PACKET_SIZE                 CDC_DATA_FS_MAX_PACKET_SIZE

#define CDC_REQ_MAX_DATA_SIZE                       0x7U
/*---------------------------------------------------------------------*/
/*  CDC definitions                                                    */
/*---------------------------------------------------------------------*/
#define CDC_SEND_ENCAPSULATED_COMMAND               0x00U
#define CDC_GET_ENCAPSULATED_RESPONSE               0x01U
#define CDC_SET_COMM_FEATURE                        0x02U
#define CDC_GET_COMM_FEATURE                        0x03U
#define CDC_CLEAR_COMM_FEATURE                      0x04U
#define CDC_SET_LINE_CODING                         0x20U
#define CDC_GET_LINE_CODING                         0x21U
#define CDC_SET_CONTROL_LINE_STATE                  0x22U
#define CDC_SEND_BREAK                              0x23U

/**
  * @}
  */


/** @defgroup USBD_CORE_Exported_TypesDefinitions
  * @{
  */

/**
  * @}
  */
typedef struct
{
  uint32_t bitrate;
  uint8_t  format;
  uint8_t  paritytype;
  uint8_t  datatype;
} USBD_CDC_LineCodingTypeDef;

typedef struct _USBD_CDC_Itf
{
  int8_t (* Init)(void);
  int8_t (* DeInit)(void);
  int8_t (* Control)(uint8_t cmd, uint8_t *pbuf, uint16_t length);
  int8_t (* Receive)(uint8_t *Buf, uint32_t *Len);
  int8_t (* TransmitCplt)(uint8_t *Buf, uint32_t *Len, uint8_t epnum);
} USBD_CDC_ItfTypeDef;


typedef struct
{
  uint32_t data[CDC_DATA_HS_MAX_PACKET_SIZE / 4U];      /* Force 32-bit alignment */
  uint8_t  CmdOpCode;
  uint8_t  CmdLength;
  uint8_t  *RxBuffer;
  uint8_t  *TxBuffer;
  uint32_t RxLength;
  uint32_t TxLength;

  __IO uint32_t TxState;
  __IO uint32_t RxState;
} USBD_CDC_HandleTypeDef;



/** @defgroup USBD_CORE_Exported_Macros
  * @{
  */

/**
  * @}
  */

/** @defgroup USBD_CORE_Exported_Variables
  * @{
  */

extern USBD_ClassTypeDef USBD_CDC;
#define USBD_CDC_CLASS &USBD_CDC
/**
  * @}
  */

/** @defgroup USB_CORE_Exported_Functions
  * @{
  */
uint8_t USBD_CDC_RegisterInterface(USBD_HandleTypeDef *pdev,
                                   USBD_CDC_ItfTypeDef *fops);

#ifdef USE_USBD_COMPOSITE
uint8_t USBD_CDC_SetTxBuffer(USBD_HandleTypeDef *pdev, uint8_t *pbuff,
                             uint32_t length, uint8_t ClassId);
uint8_t USBD_CDC_TransmitPacket(USBD_HandleTypeDef *pdev, uint8_t ClassId);
#else
uint8_t USBD_CDC_SetTxBuffer(USBD_HandleTypeDef *pdev, uint8_t *pbuff,
                             uint32_t length);
uint8_t USBD_CDC_TransmitPacket(USBD_HandleTypeDef *pdev);
#endif /* USE_USBD_COMPOSITE */
uint8_t USBD_CDC_SetRxBuffer(USBD_HandleTypeDef *pdev, uint8_t *pbuff);
uint8_t USBD_CDC_ReceivePacket(USBD_HandleTypeDef *pdev);
/**
  * @}
  */

#ifdef __cplusplus
}
#endif

#endif  /* __USB_CDC_H */
/**
  * @}
  */

/**
  * @}
  */
```

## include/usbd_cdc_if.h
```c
#pragma once
/* USER CODE BEGIN Header */
/**
  ******************************************************************************
  * @file           : usbd_cdc_if.h
  * @version        : v1.0_Cube
  * @brief          : Header for usbd_cdc_if.c file.
  ******************************************************************************
  * @attention
  *
  * Copyright (c) 2025 STMicroelectronics.
  * All rights reserved.
  *
  * This software is licensed under terms that can be found in the LICENSE file
  * in the root directory of this software component.
  * If no LICENSE file comes with this software, it is provided AS-IS.
  *
  ******************************************************************************
  */
/* USER CODE END Header */

/* Define to prevent recursive inclusion -------------------------------------*/

#ifndef __USBD_CDC_IF_H__
#define __USBD_CDC_IF_H__

#ifdef __cplusplus
 extern "C" {
#endif

/* Includes ------------------------------------------------------------------*/
#include "usbd_cdc.h"

/* USER CODE BEGIN INCLUDE */

/* USER CODE END INCLUDE */

/** @addtogroup STM32_USB_OTG_DEVICE_LIBRARY
  * @brief For Usb device.
  * @{
  */

/** @defgroup USBD_CDC_IF USBD_CDC_IF
  * @brief Usb VCP device module
  * @{
  */

/** @defgroup USBD_CDC_IF_Exported_Defines USBD_CDC_IF_Exported_Defines
  * @brief Defines.
  * @{
  */
/* Define size for the receive and transmit buffer over CDC */
#define APP_RX_DATA_SIZE  256
#define APP_TX_DATA_SIZE  256
/* USER CODE BEGIN EXPORTED_DEFINES */

/* USER CODE END EXPORTED_DEFINES */

/**
  * @}
  */

/** @defgroup USBD_CDC_IF_Exported_Types USBD_CDC_IF_Exported_Types
  * @brief Types.
  * @{
  */

/* USER CODE BEGIN EXPORTED_TYPES */

/* USER CODE END EXPORTED_TYPES */

/**
  * @}
  */

/** @defgroup USBD_CDC_IF_Exported_Macros USBD_CDC_IF_Exported_Macros
  * @brief Aliases.
  * @{
  */

/* USER CODE BEGIN EXPORTED_MACRO */

/* USER CODE END EXPORTED_MACRO */

/**
  * @}
  */

/** @defgroup USBD_CDC_IF_Exported_Variables USBD_CDC_IF_Exported_Variables
  * @brief Public variables.
  * @{
  */

/** CDC Interface callback. */
extern USBD_CDC_ItfTypeDef USBD_Interface_fops_FS;

/* USER CODE BEGIN EXPORTED_VARIABLES */

/* USER CODE END EXPORTED_VARIABLES */

/**
  * @}
  */

/** @defgroup USBD_CDC_IF_Exported_FunctionsPrototype USBD_CDC_IF_Exported_FunctionsPrototype
  * @brief Public functions declaration.
  * @{
  */

uint8_t CDC_Transmit_FS(uint8_t* Buf, uint16_t Len);

/* USER CODE BEGIN EXPORTED_FUNCTIONS */

/* USER CODE END EXPORTED_FUNCTIONS */

/**
  * @}
  */

/**
  * @}
  */

/**
  * @}
  */

#ifdef __cplusplus
}
#endif

#endif /* __USBD_CDC_IF_H__ */
```

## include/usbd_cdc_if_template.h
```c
#pragma once
/**
  ******************************************************************************
  * @file    usbd_cdc_if_template.h
  * @author  MCD Application Team
  * @brief   Header for usbd_cdc_if_template.c file.
  ******************************************************************************
  * @attention
  *
  * Copyright (c) 2015 STMicroelectronics.
  * All rights reserved.
  *
  * This software is licensed under terms that can be found in the LICENSE file
  * in the root directory of this software component.
  * If no LICENSE file comes with this software, it is provided AS-IS.
  *
  ******************************************************************************
  */

/* Define to prevent recursive inclusion -------------------------------------*/
#ifndef __USBD_CDC_IF_TEMPLATE_H
#define __USBD_CDC_IF_TEMPLATE_H

#ifdef __cplusplus
extern "C" {
#endif

/* Includes ------------------------------------------------------------------*/
#include "usbd_cdc.h"

/* Exported types ------------------------------------------------------------*/
/* Exported constants --------------------------------------------------------*/

extern USBD_CDC_ItfTypeDef  USBD_CDC_Template_fops;

/* Exported macro ------------------------------------------------------------*/
/* Exported functions ------------------------------------------------------- */

#ifdef __cplusplus
}
#endif

#endif /* __USBD_CDC_IF_TEMPLATE_H */
```

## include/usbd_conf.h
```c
#pragma once
/* USER CODE BEGIN Header */
/**
  ******************************************************************************
  * @file           : usbd_conf.h
  * @version        : v1.0_Cube
  * @brief          : Header for usbd_conf.c file.
  ******************************************************************************
  * @attention
  *
  * Copyright (c) 2025 STMicroelectronics.
  * All rights reserved.
  *
  * This software is licensed under terms that can be found in the LICENSE file
  * in the root directory of this software component.
  * If no LICENSE file comes with this software, it is provided AS-IS.
  *
  ******************************************************************************
  */
/* USER CODE END Header */

/* Define to prevent recursive inclusion -------------------------------------*/
#ifndef __USBD_CONF__H__
#define __USBD_CONF__H__

#ifdef __cplusplus
 extern "C" {
#endif

/* Includes ------------------------------------------------------------------*/
#include <stdio.h>
#include <stdlib.h>
#include <string.h>
#include "main.h"
#include "stm32h7xx.h"
#include "stm32h7xx_hal.h"

/* USER CODE BEGIN INCLUDE */

/* USER CODE END INCLUDE */

/** @addtogroup USBD_OTG_DRIVER
  * @brief Driver for Usb device.
  * @{
  */

/** @defgroup USBD_CONF USBD_CONF
  * @brief Configuration file for Usb otg low level driver.
  * @{
  */

/** @defgroup USBD_CONF_Exported_Variables USBD_CONF_Exported_Variables
  * @brief Public variables.
  * @{
  */

/**
  * @}
  */

/** @defgroup USBD_CONF_Exported_Defines USBD_CONF_Exported_Defines
  * @brief Defines for configuration of the Usb device.
  * @{
  */

/*---------- -----------*/
#define USBD_MAX_NUM_INTERFACES     1U
/*---------- -----------*/
#define USBD_MAX_NUM_CONFIGURATION     1U
/*---------- -----------*/
#define USBD_MAX_STR_DESC_SIZ     64U
/*---------- -----------*/
#define USBD_DEBUG_LEVEL     0U
/*---------- -----------*/
#define USBD_LPM_ENABLED     1U
/*---------- -----------*/
#define USBD_SELF_POWERED     1U

/****************************************/
/* #define for FS and HS identification */
#define DEVICE_FS 		0
#define DEVICE_HS 		1

/**
  * @}
  */

/** @defgroup USBD_CONF_Exported_Macros USBD_CONF_Exported_Macros
  * @brief Aliases.
  * @{
  */
/* Memory management macros make sure to use static memory allocation */
/** Alias for memory allocation. */

#define USBD_malloc         (void *)USBD_static_malloc

/** Alias for memory release. */
#define USBD_free           USBD_static_free

/** Alias for memory set. */
#define USBD_memset         memset

/** Alias for memory copy. */
#define USBD_memcpy         memcpy

/** Alias for delay. */
#define USBD_Delay          HAL_Delay

/* DEBUG macros */

#if (USBD_DEBUG_LEVEL > 0)
#define USBD_UsrLog(...)    printf(__VA_ARGS__);\
                            printf("\n");
#else
#define USBD_UsrLog(...)
#endif /* (USBD_DEBUG_LEVEL > 0U) */

#if (USBD_DEBUG_LEVEL > 1)

#define USBD_ErrLog(...)    printf("ERROR: ");\
                            printf(__VA_ARGS__);\
                            printf("\n");
#else
#define USBD_ErrLog(...)
#endif /* (USBD_DEBUG_LEVEL > 1U) */

#if (USBD_DEBUG_LEVEL > 2)
#define USBD_DbgLog(...)    printf("DEBUG : ");\
                            printf(__VA_ARGS__);\
                            printf("\n");
#else
#define USBD_DbgLog(...)
#endif /* (USBD_DEBUG_LEVEL > 2U) */

/**
  * @}
  */

/** @defgroup USBD_CONF_Exported_Types USBD_CONF_Exported_Types
  * @brief Types.
  * @{
  */

/**
  * @}
  */

/** @defgroup USBD_CONF_Exported_FunctionsPrototype USBD_CONF_Exported_FunctionsPrototype
  * @brief Declaration of public functions for Usb device.
  * @{
  */

/* Exported functions -------------------------------------------------------*/
void *USBD_static_malloc(uint32_t size);
void USBD_static_free(void *p);

/**
  * @}
  */

/**
  * @}
  */

/**
  * @}
  */

#ifdef __cplusplus
}
#endif

#endif /* __USBD_CONF__H__ */
```
